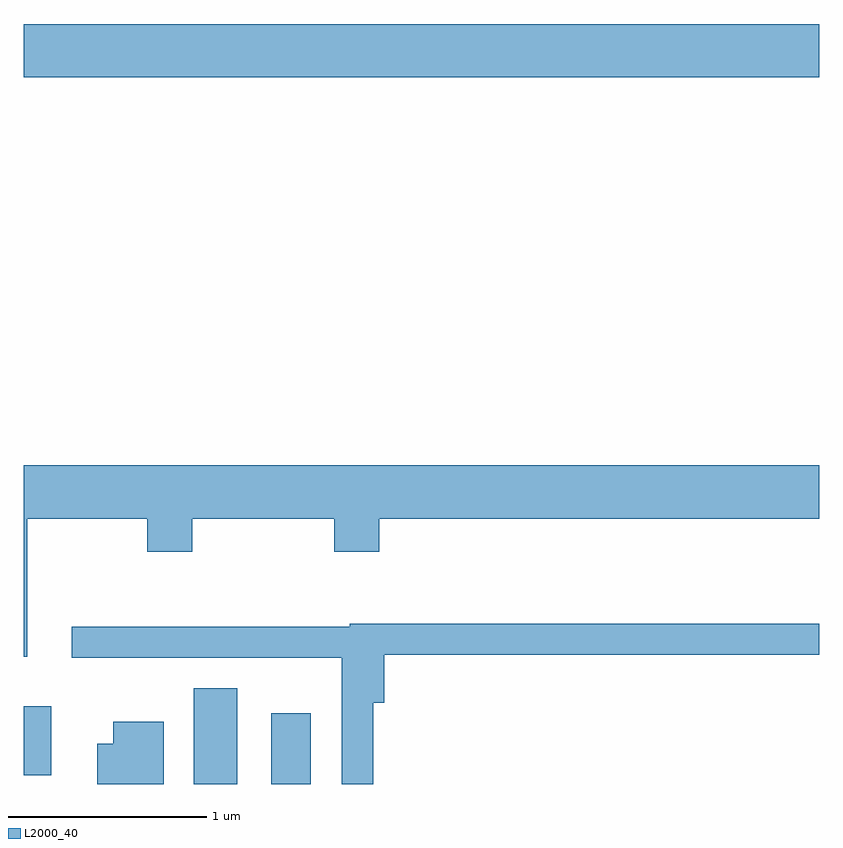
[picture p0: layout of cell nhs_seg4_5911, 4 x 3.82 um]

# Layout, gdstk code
import gdstk
lib = gdstk.Library(unit=1e-6, precision=1e-09)
def R(c, l, rs):  # rectangles x0, y0, x1, y1
    for r in rs: c.add(gdstk.rectangle(r[:2], r[2:], *l))
def P(c, l, *ps):  # polygons
    for p in ps: c.add(gdstk.Polygon(p, *l))
L2000_40 = (2000, 40)

nhs_seg4_5911 = lib.new_cell('nhs_seg4_5911')
R(nhs_seg4_5911, L2000_40, [(358.466,1379.982,358.684,1380.464), (358.856,1379.982,359.054,1380.339), (357.611,1380.026,357.749,1380.374), (357.611,1383.536,361.611,1383.804)])
P(nhs_seg4_5911, L2000_40, [(357.629,1381.316),(358.231,1381.316),(358.231,1381.151),(358.459,1381.151),(358.459,1381.316),(359.171,1381.316),(359.171,1381.151),(359.399,1381.151),(359.399,1381.316),(361.611,1381.316),(361.611,1381.584),(357.611,1381.584),(357.611,1380.621),(357.629,1380.621)],
  [(359.369,1380.391),(359.424,1380.391),(359.424,1380.631),(361.611,1380.631),(361.611,1380.789),(359.25,1380.789),(359.25,1380.774),(357.853,1380.774),(357.853,1380.616),(359.211,1380.616),(359.211,1379.982),(359.369,1379.982)],
  [(358.314,1380.294),(358.061,1380.294),(358.061,1380.184),(357.981,1380.184),(357.981,1379.982),(358.314,1379.982)])

lib.write_gds('nhs_seg4_5911.gds')
